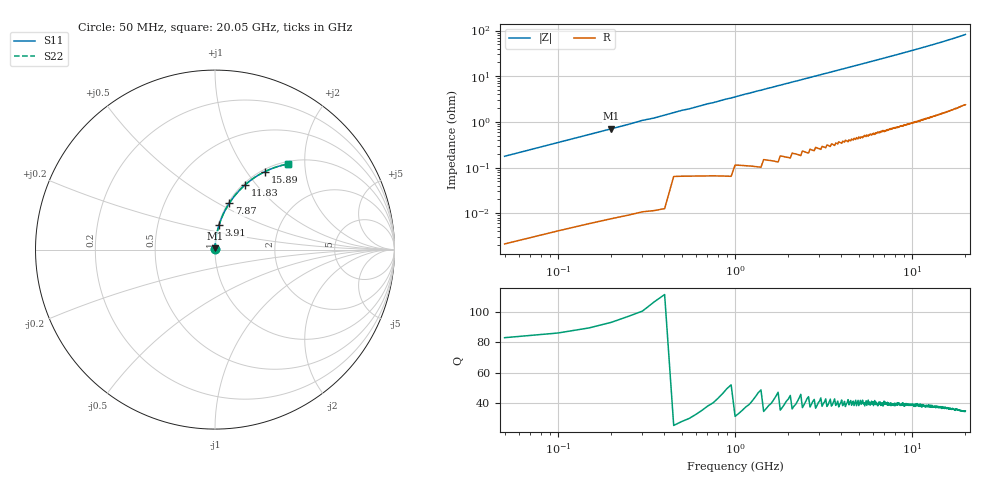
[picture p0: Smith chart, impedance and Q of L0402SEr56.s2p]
# MHZ S MA R 50
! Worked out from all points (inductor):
!   400 points, 50 MHz to 20.05 GHz, reference 50 ohm
!   read as one part in series: L = 560 pH near 150.3 MHz
!   highest Q = 93.1 at 200.4 MHz (marker M1), where L = 560 pH
!   S11 on the Smith chart (normalised r, x): 50 MHz: 1.00, +0.00; 3.91 GHz: 1.01, +0.28; 7.87 GHz: 1.01, +0.56; 11.83 GHz: 1.02, +0.87; 15.89 GHz: 1.03, +1.22; 20.05 GHz: 1.05, +1.64
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50  0.00176 88.5  1 -0.1  1 -0.1  0.00176 88.5
100.125  0.003524 88.4  1 -0.2  1 -0.2  0.003524 88.4
150.251  0.005288 88.3  1 -0.3  1 -0.3  0.005288 88.3
200.376  0.007051 88.2  1 -0.4  1 -0.4  0.007051 88.2
300.627  0.011 88.0  1 -0.6  1 -0.6  0.011 88.0
350.752  0.012 87.9  1 -0.7  1 -0.7  0.012 87.9
501.128  0.018 87.6  0.999 -1.0  0.999 -1.0  0.018 87.6
701.629  0.025 87.2  0.999 -1.4  0.999 -1.4  0.025 87.2
1152.757  0.041 86.2  0.998 -2.3  0.998 -2.3  0.041 86.2
1553.759  0.055 85.4  0.997 -3.1  0.997 -3.1  0.055 85.4
2155.263  0.076 84.2  0.995 -4.3  0.995 -4.3  0.076 84.2
3408.396  0.119 81.7  0.99 -6.8  0.99 -6.8  0.119 81.7
3909.649  0.137 80.7  0.987 -7.8  0.987 -7.8  0.137 80.7
5162.782  0.18 78.2  0.979 -10.3  0.979 -10.3  0.18 78.2
6716.667  0.232 75.1  0.967 -13.4  0.967 -13.4  0.232 75.1
7869.549  0.27 72.8  0.956 -15.7  0.956 -15.7  0.27 72.8
10075.06  0.342 68.5  0.931 -20.0  0.931 -20.0  0.342 68.5
11829.45  0.397 65.1  0.907 -23.4  0.907 -23.4  0.397 65.1
13433.46  0.445 62.0  0.884 -26.4  0.884 -26.4  0.445 62.0
15889.6  0.516 57.4  0.843 -31.0  0.843 -31.0  0.516 57.4
16741.73  0.539 55.8  0.827 -32.6  0.827 -32.6  0.539 55.8
20050  0.625 49.7  0.763 -38.6  0.763 -38.6  0.625 49.7
